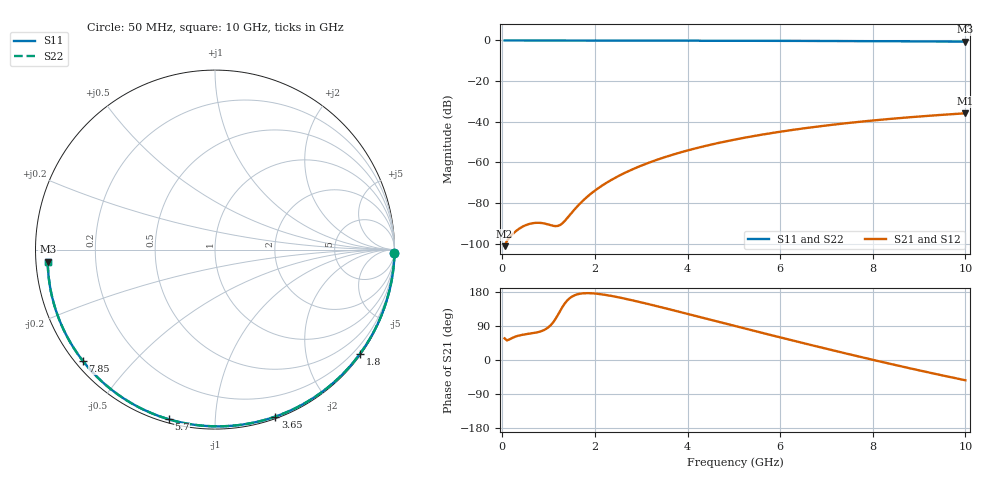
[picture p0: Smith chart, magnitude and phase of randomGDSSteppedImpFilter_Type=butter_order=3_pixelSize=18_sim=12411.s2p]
! freq	dB(S11)	phase(S11)	dB(S12)	phase(S12)
!  dB(S21)	phase(S21)	dB(S22)	phase(S22)
!S-par simulation data
#  GHz  S  DB  R 50
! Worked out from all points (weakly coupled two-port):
!   200 points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, 50 MHz to 10 GHz, reference 50 ohm
!   highest |S21| = -35.82 dB at 10 GHz (marker M1); lowest = -101.2 dB at 50 MHz (marker M2)
!   lowest |S11| = -0.6 dB at 10 GHz (marker M3), VSWR 29.53, Z = 1.7 - j1.82 ohm
!   |S11| at or under -10 dB: nowhere
!   |S22| runs from -0.6 to 0.0 dB; largest |S21 - S12| = 0
!   S11 on the Smith chart (normalised r, x): 50 MHz: open; 1.8 GHz: 0.03, -3.11; 3.65 GHz: 0.02, -1.42; 5.7 GHz: 0.02, -0.76; 7.85 GHz: 0.02, -0.36; 10 GHz: 0.03, -0.04
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0.05  -0.00 -1.0  -101.20 57.1  -101.20 57.1  -0.00 -1.0
0.8  -0.02 -16.1  -89.71 74.4  -89.71 74.4  -0.02 -16.1
1.2  -0.03 -24.0  -91.22 118.8  -91.22 118.8  -0.03 -24.0
1.65  -0.04 -32.8  -80.89 174.2  -80.89 174.2  -0.04 -32.8
1.7  -0.04 -33.7  -79.73 175.3  -79.73 175.3  -0.04 -33.7
1.75  -0.04 -34.7  -78.63 176.0  -78.63 176.0  -0.04 -34.7
1.8  -0.05 -35.7  -77.58 176.3  -77.58 176.3  -0.05 -35.7
1.95  -0.05 -38.5  -74.74 175.9  -74.74 175.9  -0.05 -38.5
2.1  -0.05 -41.4  -72.24 174.1  -72.24 174.1  -0.05 -41.4
2.45  -0.06 -48.1  -67.41 166.9  -67.41 166.9  -0.06 -48.1
2.9  -0.07 -56.5  -62.53 154.9  -62.53 154.9  -0.07 -56.5
3.4  -0.09 -65.6  -58.23 140.2  -58.23 140.2  -0.09 -65.6
3.65  -0.09 -70.1  -56.40 132.6  -56.40 132.6  -0.09 -70.1
4.35  -0.12 -82.5  -52.08 110.8  -52.08 110.8  -0.12 -82.5
5.05  -0.15 -94.5  -48.63 89.0  -48.63 89.0  -0.15 -94.5
5.7  -0.18 -105.3  -45.98 68.9  -45.98 68.9  -0.18 -105.3
6.7  -0.24 -121.5  -42.67 38.5  -42.67 38.5  -0.24 -121.5
7.25  -0.28 -130.3  -41.15 22.2  -41.15 22.2  -0.28 -130.3
7.85  -0.33 -139.9  -39.70 4.8  -39.70 4.8  -0.33 -139.9
8.35  -0.38 -148.0  -38.64 -9.4  -38.64 -9.4  -0.38 -148.0
9.2  -0.48 -162.0  -37.07 -32.7  -37.07 -32.7  -0.48 -162.0
10  -0.59 -175.8  -35.82 -53.5  -35.82 -53.5  -0.59 -175.8
